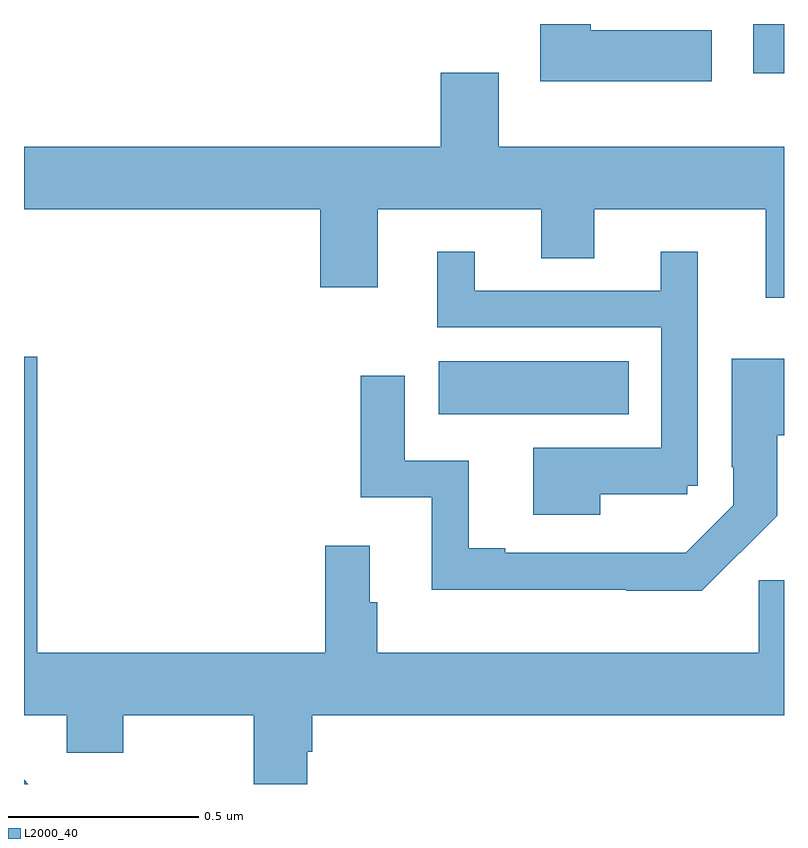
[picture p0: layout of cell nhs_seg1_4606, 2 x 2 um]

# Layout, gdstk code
import gdstk
lib = gdstk.Library(unit=1e-6, precision=1e-09)
def R(c, l, rs):  # rectangles x0, y0, x1, y1
    for r in rs: c.add(gdstk.rectangle(r[:2], r[2:], *l))
def P(c, l, *ps):  # polygons
    for p in ps: c.add(gdstk.Polygon(p, *l))
L2000_40 = (2000, 40)

nhs_seg1_4606 = lib.new_cell('nhs_seg1_4606')
R(nhs_seg1_4606, L2000_40, [(169.092,571.172,169.592,571.312), (169.919,572.07,170,572.199)])
P(nhs_seg1_4606, L2000_40, [(169.81,572.182),(169.492,572.182),(169.492,572.199),(169.358,572.199),(169.358,572.048),(169.81,572.048)],
  [(170,571.876),(169.249,571.876),(169.249,572.071),(169.097,572.071),(169.097,571.876),(168,571.876),(168,571.712),(168.779,571.712),(168.779,571.506),(168.931,571.506),(168.931,571.712),(169.361,571.712),(169.361,571.582),(169.501,571.582),(169.501,571.712),(169.952,571.712),(169.952,571.479),(170,571.479)],
  [(169.516,570.962),(169.746,570.962),(169.746,570.984),(169.773,570.984),(169.773,571.6),(169.676,571.6),(169.676,571.497),(169.186,571.497),(169.186,571.6),(169.088,571.6),(169.088,571.401),(169.677,571.401),(169.677,571.084),(169.34,571.084),(169.34,570.908),(169.516,570.908)],
  [(168.745,570.284),(168.758,570.284),(168.758,570.38),(170,570.38),(170,570.735),(169.933,570.735),(169.933,570.544),(168.929,570.544),(168.929,570.677),(168.91,570.677),(168.91,570.826),(168.793,570.826),(168.793,570.544),(168.035,570.544),(168.035,571.323),(168,571.323),(168,570.38),(168.113,570.38),(168.113,570.281),(168.261,570.281),(168.261,570.38),(168.605,570.38),(168.605,570.199),(168.745,570.199)],
  [(169.982,570.905),(169.982,571.117),(170,571.117),(170,571.318),(169.863,571.318),(169.863,571.033),(169.866,571.033),(169.866,570.933),(169.741,570.808),(169.637,570.808),(169.637,570.807),(169.267,570.807),(169.267,570.82),(169.171,570.82),(169.171,571.05),(169.002,571.05),(169.002,571.273),(168.886,571.273),(168.886,570.954),(169.073,570.954),(169.073,570.71),(169.585,570.71),(169.585,570.708),(169.784,570.708)],
  [(168,570.21),(168,570.199),(168.011,570.199)])

lib.write_gds('nhs_seg1_4606.gds')
